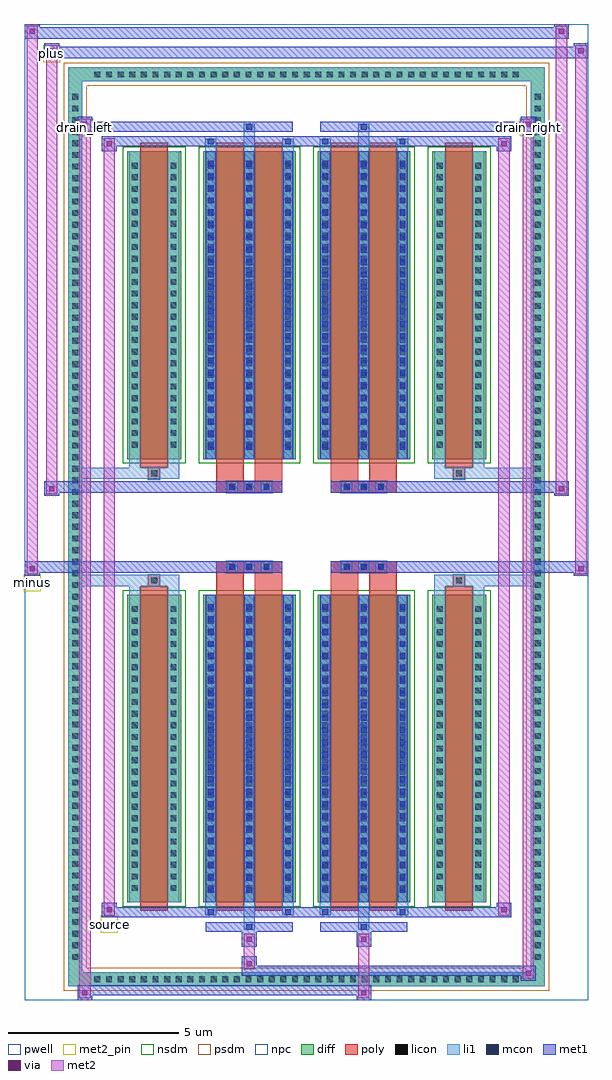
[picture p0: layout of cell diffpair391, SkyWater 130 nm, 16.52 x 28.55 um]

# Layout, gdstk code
import gdstk
lib = gdstk.Library(unit=1e-6, precision=5e-09)
def R(c, l, rs):  # rectangles x0, y0, x1, y1
    for r in rs: c.add(gdstk.rectangle(r[:2], r[2:], *l))
def A(c, l, x, y, w, h, nx, ny, dx, dy):  # array of equal rectangles
    R(c, l, [(x+i*dx, y+j*dy, x+i*dx+w, y+j*dy+h) for i in range(nx) for j in range(ny)])
def P(c, l, *ps):  # polygons
    for p in ps: c.add(gdstk.Polygon(p, *l))
pwell = (64, 44)
diff = (65, 20)
poly = (66, 20)
licon = (66, 44)
li1 = (67, 20)
mcon = (67, 44)
met1 = (68, 20)
via = (68, 44)
met2_pin = (69, 16)
met2 = (69, 20)
nsdm = (93, 44)
psdm = (94, 20)
npc = (95, 20)

diffpair391 = lib.new_cell('diffpair391')
R(diffpair391, pwell, [(-8.24,-13.84,8.24,14.71), (-5.56,-12.03,-0.01,-0.805), (0.01,-12.03,5.56,-0.805), (-5.56,0.805,-0.01,12.03), (0.01,0.805,5.56,12.03)])
A(diffpair391, diff, -6.325, -13.44, 0.41, 0.41, 37, 2, 0.34, 26.47)
A(diffpair391, diff, -6.97, -12.785, 0.41, 0.41, 1, 75, 0, 0.34)
A(diffpair391, diff, 6.56, -12.785, 0.41, 0.41, 1, 75, 0, 0.34)
R(diffpair391, diff, [(-6.325,-13.44,6.325,-13.03), (-6.97,-12.785,-6.56,12.785), (6.56,-12.785,6.97,12.785), (-5.25,-10.985,-3.67,-1.985), (-3.03,-10.985,-0.32,-1.985), (0.32,-10.985,3.03,-1.985), (3.67,-10.985,5.25,-1.985), (-5.25,1.985,-3.67,10.985), (-3.03,1.985,-0.32,10.985), (0.32,1.985,3.03,10.985), (3.67,1.985,5.25,10.985), (-6.325,13.03,6.325,13.44)])
P(diffpair391, diff, [(6.97,13.44),(-6.97,13.44),(-6.97,-13.03),(-6.56,-13.03),(-6.56,13.03),(6.56,13.03),(6.56,-13.03),(-6.56,-13.03),(-6.97,-13.03),(-6.97,-13.44),(6.97,-13.44)])
A(diffpair391, poly, -2.34, -1.335, 0.33, 0.33, 3, 2, 0.5, 2.34)
A(diffpair391, poly, 1.01, -1.335, 0.33, 0.33, 3, 2, 0.5, 2.34)
R(diffpair391, poly, [(-4.86,-11.235,-4.06,-1.735), (-2.64,-11.235,-1.84,-1.735), (-1.51,-11.235,-0.71,-1.735), (0.71,-11.235,1.51,-1.735), (1.84,-11.235,2.64,-1.735), (4.06,-11.235,4.86,-1.735), (-4.625,-1.735,-4.295,-1.405), (-4.625,-1.735,-4.295,-1.405), (-2.64,-1.735,-1.84,-1.335), (-1.51,-1.735,-0.71,-1.335), (0.71,-1.735,1.51,-1.335), (1.84,-1.735,2.64,-1.335), (4.295,-1.735,4.625,-1.405), (4.295,-1.735,4.625,-1.405), (-2.64,-1.335,-0.71,-1.005), (0.71,-1.335,2.64,-1.005), (-2.64,1.005,-0.71,1.335), (0.71,1.005,2.64,1.335), (-2.64,1.335,-1.84,1.735), (-1.51,1.335,-0.71,1.735), (0.71,1.335,1.51,1.735), (1.84,1.335,2.64,1.735), (-4.625,1.405,-4.295,1.735), (-4.625,1.405,-4.295,1.735), (4.295,1.405,4.625,1.735), (4.295,1.405,4.625,1.735), (-4.86,1.735,-4.06,11.235), (-2.64,1.735,-1.84,11.235), (-1.51,1.735,-0.71,11.235), (0.71,1.735,1.51,11.235), (1.84,1.735,2.64,11.235), (4.06,1.735,4.86,11.235)])
A(diffpair391, licon, -6.205, -13.32, 0.17, 0.17, 37, 2, 0.34, 26.47)
A(diffpair391, licon, -6.85, -12.665, 0.17, 0.17, 1, 75, 0, 0.34)
A(diffpair391, licon, 6.68, -12.665, 0.17, 0.17, 1, 75, 0, 0.34)
A(diffpair391, licon, -5.11, -10.65, 0.17, 0.17, 1, 25, 0, 0.34)
A(diffpair391, licon, -3.98, -10.65, 0.17, 0.17, 1, 25, 0, 0.34)
A(diffpair391, licon, -2.89, -10.65, 0.17, 0.17, 3, 25, 1.13, 0.34)
A(diffpair391, licon, 0.46, -10.65, 0.17, 0.17, 3, 25, 1.13, 0.34)
A(diffpair391, licon, 3.81, -10.65, 0.17, 0.17, 1, 25, 0, 0.34)
A(diffpair391, licon, 4.94, -10.65, 0.17, 0.17, 1, 25, 0, 0.34)
A(diffpair391, licon, -2.26, -1.255, 0.17, 0.17, 3, 2, 0.5, 2.34)
A(diffpair391, licon, 1.09, -1.255, 0.17, 0.17, 3, 2, 0.5, 2.34)
A(diffpair391, licon, -5.11, 2.32, 0.17, 0.17, 1, 25, 0, 0.34)
A(diffpair391, licon, -3.98, 2.32, 0.17, 0.17, 1, 25, 0, 0.34)
A(diffpair391, licon, -2.89, 2.32, 0.17, 0.17, 3, 25, 1.13, 0.34)
A(diffpair391, licon, 0.46, 2.32, 0.17, 0.17, 3, 25, 1.13, 0.34)
A(diffpair391, licon, 3.81, 2.32, 0.17, 0.17, 1, 25, 0, 0.34)
A(diffpair391, licon, 4.94, 2.32, 0.17, 0.17, 1, 25, 0, 0.34)
R(diffpair391, licon, [(-4.545,-1.655,-4.375,-1.485), (4.375,-1.655,4.545,-1.485), (-4.545,1.485,-4.375,1.655), (4.375,1.485,4.545,1.655)])
A(diffpair391, li1, -6.285, -13.4, 0.33, 0.33, 37, 2, 0.34, 26.47)
A(diffpair391, li1, -6.93, -12.745, 0.33, 0.33, 1, 75, 0, 0.34)
A(diffpair391, li1, 6.6, -12.745, 0.33, 0.33, 1, 75, 0, 0.34)
A(diffpair391, li1, -2.97, -10.985, 0.33, 9, 3, 2, 1.13, 12.97)
A(diffpair391, li1, 0.38, -10.985, 0.33, 9, 3, 2, 1.13, 12.97)
A(diffpair391, li1, -5.19, -10.73, 0.33, 0.33, 1, 25, 0, 0.34)
A(diffpair391, li1, -4.06, -10.73, 0.33, 0.33, 1, 25, 0, 0.34)
A(diffpair391, li1, -2.97, -10.73, 0.33, 0.33, 3, 25, 1.13, 0.34)
A(diffpair391, li1, 0.38, -10.73, 0.33, 0.33, 3, 25, 1.13, 0.34)
A(diffpair391, li1, 3.73, -10.73, 0.33, 0.33, 1, 25, 0, 0.34)
A(diffpair391, li1, 4.86, -10.73, 0.33, 0.33, 1, 25, 0, 0.34)
A(diffpair391, li1, -2.89, -10.71, 0.17, 0.17, 3, 24, 1.13, 0.36)
A(diffpair391, li1, -2.89, -10.71, 0.17, 8.45, 3, 2, 1.13, 12.97)
A(diffpair391, li1, 0.46, -10.71, 0.17, 0.17, 3, 24, 1.13, 0.36)
A(diffpair391, li1, 0.46, -10.71, 0.17, 8.45, 3, 2, 1.13, 12.97)
A(diffpair391, li1, -2.34, -1.335, 0.33, 0.33, 3, 2, 0.5, 2.34)
A(diffpair391, li1, 1.01, -1.335, 0.33, 0.33, 3, 2, 0.5, 2.34)
A(diffpair391, li1, -5.19, 2.24, 0.33, 0.33, 1, 25, 0, 0.34)
A(diffpair391, li1, -4.06, 2.24, 0.33, 0.33, 1, 25, 0, 0.34)
A(diffpair391, li1, -2.97, 2.24, 0.33, 0.33, 3, 25, 1.13, 0.34)
A(diffpair391, li1, 0.38, 2.24, 0.33, 0.33, 3, 25, 1.13, 0.34)
A(diffpair391, li1, 3.73, 2.24, 0.33, 0.33, 1, 25, 0, 0.34)
A(diffpair391, li1, 4.86, 2.24, 0.33, 0.33, 1, 25, 0, 0.34)
A(diffpair391, li1, -2.89, 2.26, 0.17, 0.17, 3, 24, 1.13, 0.36)
A(diffpair391, li1, 0.46, 2.26, 0.17, 0.17, 3, 24, 1.13, 0.36)
R(diffpair391, li1, [(-6.97,-13.44,-6.56,-13.03), (-6.97,-13.44,-6.56,-13.03), (-6.56,-13.44,6.56,-13.03), (6.56,-13.44,6.97,-13.03), (6.56,-13.44,6.97,-13.03), (-6.97,-13.03,-6.56,13.03), (6.56,-13.03,6.97,13.03), (-1.84,-11.79,-1.51,-10.985), (-1.76,-11.79,-1.59,-11.62), (1.51,-11.79,1.84,-10.985), (1.59,-11.79,1.76,-11.62), (-2.97,-11.36,-2.64,-10.985), (-2.89,-11.36,-2.72,-11.19), (-0.71,-11.36,-0.38,-10.985), (-0.63,-11.36,-0.46,-11.19), (0.38,-11.36,0.71,-10.985), (0.46,-11.36,0.63,-11.19), (2.64,-11.36,2.97,-10.985), (2.72,-11.36,2.89,-11.19), (-5.19,-10.985,-4.86,-1.985), (-4.06,-10.985,-3.73,-1.985), (3.73,-10.985,4.06,-1.985), (4.86,-10.985,5.19,-1.985), (-5.19,-1.985,-4.86,-1.405), (-4.06,-1.985,-3.73,-1.405), (3.73,-1.985,4.06,-1.405), (4.86,-1.985,5.19,-1.405), (-6.97,-1.735,-4.625,-1.405), (-5.19,-1.735,-4.625,-1.405), (-4.625,-1.735,-4.295,-1.405), (-4.295,-1.735,-3.73,-1.405), (3.73,-1.735,4.295,-1.405), (4.295,-1.735,4.625,-1.405), (4.295,-1.735,6.97,-1.405), (4.625,-1.735,5.19,-1.405), (-6.97,1.405,-4.625,1.735), (-5.19,1.405,-4.625,1.735), (-5.19,1.405,-4.86,1.985), (-4.625,1.405,-4.295,1.735), (-4.295,1.405,-3.73,1.735), (-4.06,1.405,-3.73,1.985), (3.73,1.405,4.295,1.735), (3.73,1.405,4.06,1.985), (4.295,1.405,4.625,1.735), (4.295,1.405,6.97,1.735), (4.625,1.405,5.19,1.735), (4.86,1.405,5.19,1.985), (-5.19,1.985,-4.86,10.985), (-4.06,1.985,-3.73,10.985), (3.73,1.985,4.06,10.985), (4.86,1.985,5.19,10.985), (-2.97,10.985,-2.64,11.36), (-1.84,10.985,-1.51,11.79), (-0.71,10.985,-0.38,11.36), (0.38,10.985,0.71,11.36), (1.51,10.985,1.84,11.79), (2.64,10.985,2.97,11.36), (-2.89,11.19,-2.72,11.36), (-0.63,11.19,-0.46,11.36), (0.46,11.19,0.63,11.36), (2.72,11.19,2.89,11.36), (-1.76,11.62,-1.59,11.79), (1.59,11.62,1.76,11.79), (-6.97,13.03,-6.56,13.44), (-6.97,13.03,-6.56,13.44), (-6.56,13.03,6.56,13.44), (6.56,13.03,6.97,13.44), (6.56,13.03,6.97,13.44)])
A(diffpair391, mcon, -2.89, -10.71, 0.17, 0.17, 3, 24, 1.13, 0.36)
A(diffpair391, mcon, 0.46, -10.71, 0.17, 0.17, 3, 24, 1.13, 0.36)
A(diffpair391, mcon, -2.26, -1.255, 0.17, 0.17, 3, 2, 0.5, 2.34)
A(diffpair391, mcon, 1.09, -1.255, 0.17, 0.17, 3, 2, 0.5, 2.34)
A(diffpair391, mcon, -2.89, 2.26, 0.17, 0.17, 3, 24, 1.13, 0.36)
A(diffpair391, mcon, 0.46, 2.26, 0.17, 0.17, 3, 24, 1.13, 0.36)
R(diffpair391, mcon, [(-1.76,-11.79,-1.59,-11.62), (1.59,-11.79,1.76,-11.62), (-2.89,-11.36,-2.72,-11.19), (-0.63,-11.36,-0.46,-11.19), (0.46,-11.36,0.63,-11.19), (2.72,-11.36,2.89,-11.19), (-2.89,11.19,-2.72,11.36), (-0.63,11.19,-0.46,11.36), (0.46,11.19,0.63,11.36), (2.72,11.19,2.89,11.36), (-1.76,11.62,-1.59,11.79), (1.59,11.62,1.76,11.79)])
A(diffpair391, met1, -2.95, -10.985, 0.29, 9, 3, 2, 1.13, 12.97)
A(diffpair391, met1, 0.4, -10.985, 0.29, 9, 3, 2, 1.13, 12.97)
A(diffpair391, met1, -2.95, -10.77, 0.29, 0.29, 3, 24, 1.13, 0.36)
A(diffpair391, met1, 0.4, -10.77, 0.29, 0.29, 3, 24, 1.13, 0.36)
A(diffpair391, met1, -2.32, -1.315, 0.29, 0.29, 3, 2, 0.5, 2.34)
A(diffpair391, met1, 1.03, -1.315, 0.29, 0.29, 3, 2, 0.5, 2.34)
A(diffpair391, met1, -2.95, 2.2, 0.29, 0.29, 3, 24, 1.13, 0.36)
A(diffpair391, met1, 0.4, 2.2, 0.29, 0.29, 3, 24, 1.13, 0.36)
R(diffpair391, met1, [(-6.7,-13.84,-6.27,-13.41), (1.46,-13.84,1.89,-13.41), (-6.7,-13.7,1.89,-13.41), (6.27,-13.27,6.7,-12.84), (-1.89,-13.13,6.7,-12.84), (-1.89,-12.99,-1.46,-12.56), (-1.89,-12.28,-1.46,-11.85), (1.46,-12.28,1.89,-11.85), (-2.95,-11.85,-0.4,-11.56), (-1.82,-11.85,-1.53,-11.56), (0.4,-11.85,2.95,-11.56), (1.53,-11.85,1.82,-11.56), (-5.99,-11.42,-5.56,-10.99), (-5.99,-11.42,-2.95,-11.13), (-2.95,-11.42,-2.66,-11.13), (-2.95,-11.42,-0.4,-11.13), (-0.69,-11.42,-0.4,-11.13), (-0.4,-11.42,0.4,-11.13), (0.4,-11.42,0.69,-11.13), (0.4,-11.42,2.95,-11.13), (2.66,-11.42,2.95,-11.13), (2.95,-11.42,5.99,-11.13), (5.56,-11.42,5.99,-10.99), (-8.24,-1.435,-7.81,-1.005), (7.81,-1.435,8.24,-1.005), (-8.24,-1.335,-0.71,-1.005), (-2.64,-1.335,-0.71,-1.005), (0.71,-1.335,2.64,-1.005), (0.71,-1.335,8.24,-1.005), (-7.67,0.905,-7.24,1.335), (7.24,0.905,7.67,1.335), (-7.67,1.005,-2.64,1.335), (-2.64,1.005,-0.71,1.335), (0.71,1.005,2.64,1.335), (2.64,1.005,7.67,1.335), (-5.99,10.99,-5.56,11.42), (5.56,10.99,5.99,11.42), (-5.99,11.13,-2.95,11.42), (-2.95,11.13,-2.66,11.42), (-2.95,11.13,-0.4,11.42), (-0.69,11.13,-0.4,11.42), (-0.4,11.13,0.4,11.42), (0.4,11.13,0.69,11.42), (0.4,11.13,2.95,11.42), (2.66,11.13,2.95,11.42), (2.95,11.13,5.99,11.42), (-6.7,11.56,-6.27,11.99), (-6.7,11.56,-2.95,11.85), (-2.95,11.56,-0.4,11.85), (-1.82,11.56,-1.53,11.85), (0.4,11.56,2.95,11.85), (1.53,11.56,1.82,11.85), (2.95,11.56,6.7,11.85), (6.27,11.56,6.7,11.99), (-7.67,13.71,-7.24,14.14), (-7.67,13.71,-5.56,14.04), (-5.56,13.71,5.56,14.04), (5.56,13.71,8.24,14.04), (7.81,13.71,8.24,14.14), (-8.24,14.28,-7.81,14.71), (-8.24,14.28,-5.56,14.61), (-5.56,14.28,5.56,14.61), (5.56,14.28,7.67,14.61), (7.24,14.28,7.67,14.71)])
R(diffpair391, via, [(-6.56,-13.7,-6.41,-13.55), (1.6,-13.7,1.75,-13.55), (6.41,-13.13,6.56,-12.98), (-1.75,-12.85,-1.6,-12.7), (-1.75,-12.14,-1.6,-11.99), (1.6,-12.14,1.75,-11.99), (-5.85,-11.28,-5.7,-11.13), (5.7,-11.28,5.85,-11.13), (-8.1,-1.295,-7.95,-1.145), (7.95,-1.295,8.1,-1.145), (-7.53,1.045,-7.38,1.195), (7.38,1.045,7.53,1.195), (-5.85,11.13,-5.7,11.28), (5.7,11.13,5.85,11.28), (-6.56,11.7,-6.41,11.85), (6.41,11.7,6.56,11.85), (-7.53,13.85,-7.38,14), (7.95,13.85,8.1,14), (-8.1,14.42,-7.95,14.57), (7.38,14.42,7.53,14.57)])
R(diffpair391, met2_pin, [(-6.025,-11.87,-5.525,-11.37), (-8.275,-1.885,-7.775,-1.385), (-6.735,11.44,-6.235,11.94), (6.235,11.44,6.735,11.94), (-7.705,13.59,-7.205,14.09)])
R(diffpair391, met2, [(-6.65,-13.79,-6.32,-13.46), (-6.65,-13.79,-6.32,11.94), (1.51,-13.79,1.84,-13.46), (1.51,-13.46,1.84,-12.23), (6.32,-13.22,6.65,-12.89), (6.32,-13.22,6.65,11.94), (-1.84,-12.94,-1.51,-12.61), (-1.84,-12.61,-1.51,-12.23), (-1.84,-12.23,-1.51,-11.9), (1.51,-12.23,1.84,-11.9), (-5.94,-11.37,-5.61,-11.04), (-5.94,-11.37,-5.61,11.37), (5.61,-11.37,5.94,-11.04), (5.61,-11.37,5.94,11.37), (-8.19,-1.385,-7.86,-1.055), (-8.19,-1.385,-7.86,14.66), (7.86,-1.385,8.19,-1.055), (7.86,-1.385,8.19,14.09), (-7.62,0.955,-7.29,1.285), (-7.62,0.955,-7.29,14.09), (7.29,0.955,7.62,1.285), (7.29,0.955,7.62,14.66), (-5.94,11.04,-5.61,11.37), (5.61,11.04,5.94,11.37), (-6.65,11.61,-6.32,11.94), (6.32,11.61,6.65,11.94), (-7.62,13.76,-7.29,14.09), (7.86,13.76,8.19,14.09), (-8.19,14.33,-7.86,14.66), (7.29,14.33,7.62,14.66)])
P(diffpair391, met2, [(8.19,-1.385),(8.19,-1.385),(8.19,-1.055),(8.19,-1.055)],
  [(8.19,13.76),(8.19,13.76),(8.19,14.09),(8.19,14.09)],
  [(-7.86,-1.385),(-7.86,-1.385),(-7.86,-1.055),(-7.86,-1.055)],
  [(-7.86,14.33),(-7.86,14.33),(-7.86,14.66),(-7.86,14.66)],
  [(7.62,0.955),(7.62,0.955),(7.62,1.285),(7.62,1.285)],
  [(7.62,14.33),(7.62,14.33),(7.62,14.66),(7.62,14.66)],
  [(-7.29,0.955),(-7.29,0.955),(-7.29,1.285),(-7.29,1.285)],
  [(-7.29,13.76),(-7.29,13.76),(-7.29,14.09),(-7.29,14.09)],
  [(-6.32,-13.79),(-6.32,-13.79),(-6.32,-13.46),(-6.32,-13.46)],
  [(-6.32,11.61),(-6.32,11.61),(-6.32,11.94),(-6.32,11.94)],
  [(6.65,-13.22),(6.65,-13.22),(6.65,-12.89),(6.65,-12.89)],
  [(6.65,11.61),(6.65,11.61),(6.65,11.94),(6.65,11.94)],
  [(-5.61,-11.37),(-5.61,-11.37),(-5.61,-11.04),(-5.61,-11.04)],
  [(-5.61,11.04),(-5.61,11.04),(-5.61,11.37),(-5.61,11.37)],
  [(5.94,-11.37),(5.94,-11.37),(5.94,-11.04),(5.94,-11.04)],
  [(5.94,11.04),(5.94,11.04),(5.94,11.37),(5.94,11.37)])
R(diffpair391, nsdm, [(-5.38,-11.115,-3.54,-1.855), (-3.16,-11.115,-0.19,-1.855), (0.19,-11.115,3.16,-1.855), (3.54,-11.115,5.38,-1.855), (-5.38,1.855,-3.54,11.115), (-3.16,1.855,-0.19,11.115), (0.19,1.855,3.16,11.115), (3.54,1.855,5.38,11.115)])
P(diffpair391, psdm, [(7.1,13.57),(-7.1,13.57),(-7.1,-12.9),(-6.43,-12.9),(-6.43,12.9),(6.43,12.9),(6.43,-12.9),(-6.43,-12.9),(-7.1,-12.9),(-7.1,-13.57),(7.1,-13.57)])
A(diffpair391, npc, -2.36, -1.355, 0.37, 0.37, 3, 2, 0.5, 2.34)
A(diffpair391, npc, 0.99, -1.355, 0.37, 0.37, 3, 2, 0.5, 2.34)
R(diffpair391, npc, [(-4.645,-1.755,-4.275,-1.385), (4.275,-1.755,4.645,-1.385), (-2.36,-1.355,-1.49,-0.985), (-2.36,-1.355,-1.49,-0.985), (-1.86,-1.355,-0.99,-0.985), (-1.86,-1.355,-0.99,-0.985), (0.99,-1.355,1.86,-0.985), (0.99,-1.355,1.86,-0.985), (1.49,-1.355,2.36,-0.985), (1.49,-1.355,2.36,-0.985), (-2.36,0.985,-1.49,1.355), (-2.36,0.985,-1.49,1.355), (-1.86,0.985,-0.99,1.355), (-1.86,0.985,-0.99,1.355), (0.99,0.985,1.86,1.355), (0.99,0.985,1.86,1.355), (1.49,0.985,2.36,1.355), (1.49,0.985,2.36,1.355), (-4.645,1.385,-4.275,1.755), (4.275,1.385,4.645,1.755)])
diffpair391.add(gdstk.Label('minus', (-8.025,-1.635), layer=69, texttype=5))
diffpair391.add(gdstk.Label('drain_right', (6.485,11.69), layer=69, texttype=5))
diffpair391.add(gdstk.Label('drain_left', (-6.485,11.69), layer=69, texttype=5))
diffpair391.add(gdstk.Label('source', (-5.775,-11.62), layer=69, texttype=5))
diffpair391.add(gdstk.Label('plus', (-7.455,13.84), layer=69, texttype=5))

lib.write_gds('diffpair391.gds')
